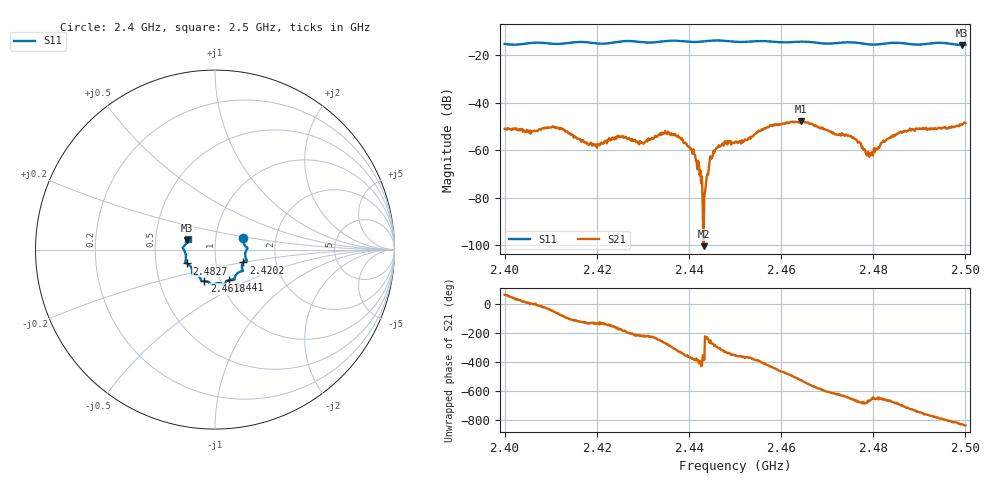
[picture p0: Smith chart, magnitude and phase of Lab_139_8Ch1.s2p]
# Hz S RI R 50
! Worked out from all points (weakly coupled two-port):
!   601 points, 2.4 GHz to 2.5 GHz, reference 50 ohm
!   highest |S21| = -47.80 dB at 2.4643 GHz (marker M1); lowest = -100.4 dB at 2.4432 GHz (marker M2)
!   lowest |S11| = -15.8 dB at 2.4993 GHz (marker M3), VSWR 1.39, Z = 36.5 + j3.82 ohm
!   |S11| at or under -10 dB: start of sweep to end of sweep
!   S12 and S22 are empty: the file has one direction only
!   S11 on the Smith chart (normalised r, x): 2.4 GHz: 1.36, +0.18; 2.4202 GHz: 1.36, -0.20; 2.441 GHz: 1.10, -0.39; 2.4618 GHz: 0.84, -0.30; 2.4827 GHz: 0.72, -0.12; 2.5 GHz: 0.73, +0.09
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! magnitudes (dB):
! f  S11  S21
! 2.4 GHz  -15.4  -51.0
! 2.4108 GHz  -15.4  -50.3
! 2.4167 GHz  -14.5  -56.5
! 2.4202 GHz  -15.2  -57.5
! 2.43 GHz  -14.7  -57.0
! 2.4333 GHz  -14.5  -53.8
! 2.4372 GHz  -14.0  -53.9
! 2.441 GHz  -14.6  -59.7
! 2.4432 GHz  -14.3  -100.4
! 2.4435 GHz  -14.3  -77.2
! 2.4448 GHz  -14.0  -63.6
! 2.4458 GHz  -13.9  -59.7
! 2.45 GHz  -14.4  -56.8
! 2.4618 GHz  -14.7  -48.4
! 2.4643 GHz  -14.4  -47.8
! 2.4667 GHz  -14.6  -48.9
! 2.4753 GHz  -14.7  -54.6
! 2.479 GHz  -15.5  -61.3
! 2.4827 GHz  -15.2  -56.0
! 2.4833 GHz  -15.0  -55.1
! 2.4993 GHz  -15.8  -49.1
! 2.5 GHz  -15.7  -48.6
